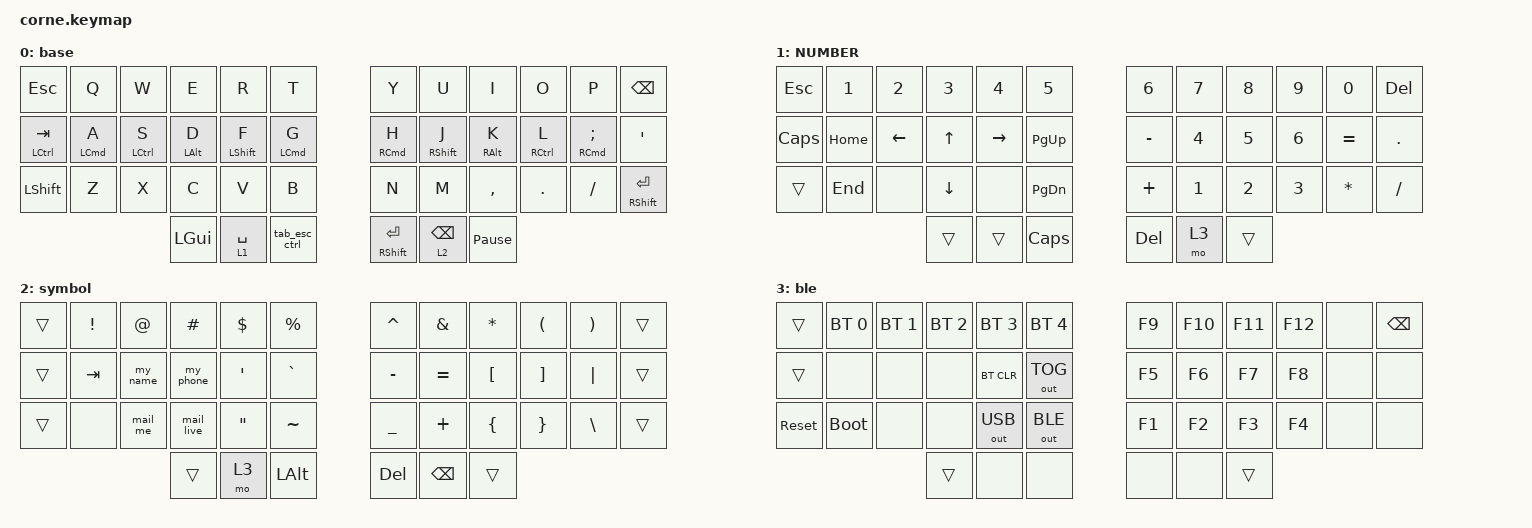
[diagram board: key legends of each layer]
/*
 * Copyright (c) 2020 The ZMK Contributors
 *
 * SPDX-License-Identifier: MIT
 */

#include <behaviors.dtsi>
#include <dt-bindings/zmk/keys.h>
#include <dt-bindings/zmk/bt.h>
#include <dt-bindings/zmk/outputs.h>

#define DEFAULT 0
#define SYMBOL  1
#define NUMBER  2
#define SETTING 3

/ {
    combos {
        compatible = "zmk,combos";

        rt {
            bindings = <&kp LEFT_PARENTHESIS>;
            key-positions = <4 5>;
            layers = <0>;
            timeout-ms = <50>;
        };

        yu {
            bindings = <&kp RIGHT_PARENTHESIS>;
            key-positions = <6 7>;
            layers = <0>;
            timeout-ms = <50>;
        };

        fg {
            bindings = <&kp LEFT_BRACKET>;
            key-positions = <16 17>;
            layers = <0>;
            timeout-ms = <50>;
        };

        hj {
            bindings = <&kp RIGHT_BRACKET>;
            key-positions = <18 19>;
            layers = <0>;
            timeout-ms = <50>;
        };

        vb {
            bindings = <&kp LEFT_BRACE>;
            key-positions = <28 29>;
            layers = <0>;
            timeout-ms = <50>;
        };

        nm {
            bindings = <&kp RIGHT_BRACE>;
            key-positions = <30 31>;
            layers = <0>;
            timeout-ms = <50>;
        };

        cv {
            bindings = <&kp BACKSLASH>;
            key-positions = <29 16>;
            layers = <0>;
            timeout-ms = <50>;
        };

        jb {
            bindings = <&kp SLASH>;
            key-positions = <30 19>;
            layers = <0>;
            timeout-ms = <50>;
        };

        gb {
            bindings = <&kp PIPE>;
            key-positions = <17 29>;
            timeout-ms = <50>;
        };

        hn {
            bindings = <&kp UNDER>;
            key-positions = <18 30>;
            timeout-ms = <50>;
        };
    };

    macros {
        my_phone: my_phone {
            compatible = "zmk,behavior-macro";
            label = "my_phone";
            #binding-cells = <0>;
            bindings = <&kp KP_NUMBER_1 &kp KP_NUMBER_8 &kp KP_NUMBER_6 &kp STAR &kp STAR &kp STAR &kp STAR &kp STAR &kp STAR &kp STAR &kp STAR>;
        };
        mail_me: mail_me {
            compatible = "zmk,behavior-macro";
            label = "mail_me";
            #binding-cells = <0>;
            bindings = <&kp I &kp P &kp R &kp STAR &kp STAR &kp STAR &kp E &kp C &kp STAR &kp AT_SIGN &kp STAR &kp STAR &kp DOT &kp C &kp O &kp M>;
        };
        mail_live: mail_live {
            compatible = "zmk,behavior-macro";
            label = "mail_live";
            #binding-cells = <0>;
            bindings = <&kp I &kp P &kp R &kp STAR &kp STAR &kp STAR &kp E &kp C &kp STAR &kp AT &kp STAR &kp STAR &kp V &kp E &kp DOT &kp C &kp O &kp M>;
        };
        my_name: my_name {
            compatible = "zmk,behavior-macro";
            label = "MY_NAME";
            #binding-cells = <0>;
            bindings = <&kp I &kp P &kp R &kp KP_NUMBER_1 &kp STAR &kp STAR &kp STAR &kp S &kp S>;
        };
    };

    behaviors {
        tab_esc_ctrl: tab_esc_ctrl {
            compatible = "zmk,behavior-tap-dance";
            label = "TAB_ESC_CTRL";
            #binding-cells = <0>;
            bindings =
                <&mt LCTRL ESC>,
                <&kp TAB>;
        };
        gqt: gqt {
            compatible = "zmk,behavior-hold-tap";
            label = "GQT";
            bindings =
                <&kp>,
                <&kp>;

            #binding-cells = <2>;
            tapping-term-ms = <200>;
            quick-tap-ms = <180>;
            global-quick-tap;
        };
        ltq: ltq {
            compatible = "zmk,behavior-hold-tap";
            label = "LTQ";
            bindings =
                <&mo>,
                <&kp>;

            #binding-cells = <2>;
            tapping-term-ms = <200>;
            quick-tap-ms = <180>;
            global-quick-tap;
        };
    };

    keymap {
        compatible = "zmk,keymap";

        base {
            // -----------------------------------------------------------------------------------------
            // | TAB  |  Q  |  W  |  E  |  R       |  T  |     |  Y  |  U        |  I  |  O  |  P  |   BKSP    |
            // | SHFT |  A  |  S  |  D  |  F       |  G  |     |  H  |  J        |  K  |  L  |  ;  |     '     |
            // | CTRL |  Z  |  X  |  C  |  V       |  B  |     |  N  |  M        |  ,  |  .  |  /  | SHFT(RET) |
            //                    | GUI | SPC(NUM) | ALT |     | ENT | SPC(SYM)  | ALT |

            label = "base";
            bindings = <
             &kp ESC                &kp Q         &kp W        &kp E              &kp R                &kp T                    &kp Y               &kp U            &kp I         &kp O                    &kp P       &kp BSPC
&mt LEFT_CONTROL TAB  &gqt LEFT_COMMAND A  &gqt LCTRL S  &gqt LALT D  &gqt LEFT_SHIFT F  &gqt LEFT_COMMAND G     &gqt RIGHT_COMMAND H  &gqt RIGHT_SHIFT J      &gqt RALT K  &gqt RCTRL L  &gqt RIGHT_COMMAND SEMI        &kp SQT
      &kp LEFT_SHIFT                &kp Z         &kp X        &kp C              &kp V                &kp B                    &kp N               &kp M        &kp COMMA       &kp DOT                 &kp FSLH  &mt RSHFT RET
                                                            &kp LGUI        &lt 1 SPACE        &tab_esc_ctrl    &mt RIGHT_SHIFT ENTER    &ltq 2 BACKSPACE  &kp PAUSE_BREAK
            >;
        };

        number {
            // -----------------------------------------------------------------------------------------
            // | ESC  |  !  |  @  |  #  |  $  |  %  |     |  ^   |  &   |  *   |  (   |  )  | DEL |
            // |      | CAPS|     |  {  |  }  | "|" |     | LEFT | DOWN |  UP  | RGT  |  :  |  "  |
            // |      |     |     |     |  `  |  ~  |     | HOME | END  | PGUP | PGDN | INS | ALT |
            //                    |     | SET |     |     |      |      |      |

            label = "NUMBER";
            bindings = <
 &kp ESC  &kp NUMBER_1  &kp NUMBER_2  &kp NUMBER_3  &kp NUMBER_4   &kp NUMBER_5    &kp NUMBER_6  &kp NUMBER_7  &kp NUMBER_8  &kp NUMBER_9  &kp NUMBER_0    &kp DEL
&kp CAPS      &kp HOME      &kp LEFT        &kp UP     &kp RIGHT    &kp PAGE_UP       &kp MINUS  &kp NUMBER_4  &kp NUMBER_5  &kp NUMBER_6     &kp EQUAL    &kp DOT
  &trans       &kp END         &none      &kp DOWN         &none  &kp PAGE_DOWN        &kp PLUS  &kp NUMBER_1  &kp NUMBER_2  &kp NUMBER_3      &kp STAR  &kp SLASH
                                            &trans        &trans       &kp CAPS         &kp DEL         &mo 3        &trans
            >;
        };

        symbol {
            // -----------------------------------------------------------------------------------------
            // | ESC |  1  |  2  |  3  |  4  |  5  |   |  6  |  7  |  8  |  9  |  0  | DEL  |
            // | SHF |  F1 |  F2 |  F3 | F4  |  F5 |   |  -  |  =  |  [  |  ]  |  \  | F11  |
            // | CTL |  F6 |  F7 |  F8 | F9  | F10 |   |  _  |  +  |  {  |  }  | "|" | F12  |
            //                   |     |     |     |   | SET |     |     |

            label = "symbol";
            bindings = <
&trans  &kp EXCL    &kp AT    &kp HASH          &kp DLLR   &kp PERCENT    &kp CARET  &kp AMPERSAND  &kp ASTERISK  &kp LPAR       &kp RPAR  &trans
&trans   &kp TAB  &my_name   &my_phone  &kp SINGLE_QUOTE     &kp GRAVE    &kp MINUS      &kp EQUAL      &kp LBKT  &kp RBKT       &kp PIPE  &trans
&trans     &none  &mail_me  &mail_live           &kp DQT     &kp TILDE    &kp UNDER       &kp PLUS      &kp LBRC  &kp RBRC  &kp BACKSLASH  &trans
                                &trans             &mo 3  &kp LEFT_ALT      &kp DEL  &kp BACKSPACE        &trans
            >;
        };

        ble {
            // -----------------------------------------------------------------------------------------
            // | RGB BRI+ | RGB SAT+ | RGB HUE+ | RGB ANI+ | | RGB TOG |     |  BT1  | BT2 | BT3 | BT4 | BT5 | BT CLR |
            // | RGB BRI- | RGB SAT- | RGB HUE- | RGB ANI- | |         |     |       |     |     |     |     |        |
            // |          |          |          |          | |         |     | RESET |     |     |     |     |        |
            //                                  |          | |         |     |       |     |     |

            label = "ble";
            bindings = <
    &trans  &bt BT_SEL 0  &bt BT_SEL 1  &bt BT_SEL 2  &bt BT_SEL 3  &bt BT_SEL 4    &kp F9  &kp F10  &kp F11  &kp F12  &none  &kp BACKSPACE
    &trans         &none         &none         &none    &bt BT_CLR  &out OUT_TOG    &kp F5   &kp F6   &kp F7   &kp F8  &none          &none
&sys_reset   &bootloader         &none         &none  &out OUT_USB  &out OUT_BLE    &kp F1   &kp F2   &kp F3   &kp F4  &none          &none
                                              &trans         &none         &none     &none    &none   &trans
            >;
        };
    };
};
